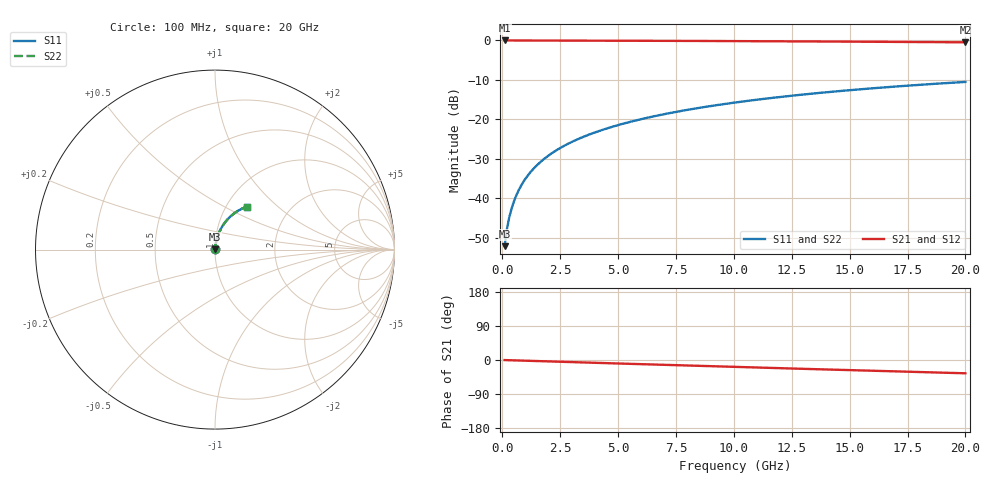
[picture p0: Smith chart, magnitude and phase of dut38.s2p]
! Touchstone file exported from HFSS 2026.1.0
!  File:  C:/ffzhzh/LocalFiles/Ansys_Project_Files/temp_train_TMRDL_38_1782880652_43084.aedt
!  Generated:  12:38:48 PM Jul  1, 2026
!  Design:  TMRDL
!  Project:  temp_train_TMRDL_38_1782880652_43084
! Variables:
!  h_bsmrdl = 2um
!  h_ox = 20um
!  h_rdl = 5um
!  h_sub = 80um
!  h_tmrdl = 5.38um
!  h_tsv = 80um
!  h_via = 3um
!  l_bsmrdl = 300um
!  l_sub = 919.73um
!  l_tmrdl = 519.73um
!  m_sub = 200um
!  pitch = 50.05um
!  r_tsv = 6um
!  s_tmrdl = 10um
!  w_bsmrdl = 18um
!  w_sub = 500um
!  w_tmrdl = 24.46um
!  x_tsv_center1 = 531.96um
!  x_tsv_center2 = 849.96um
!  x_tsv_center3 = 1394.15um
!  x_tsv_center4 = 1712.15um
!  x_tsv_center5 = 2256.34um
!  x_tsv_center6 = 2574.34um
# GHz S MA R 50.000000
! Terminal data exported
! Port[1] = TM_RDL1_1_T1
! Port[2] = TM_RDL1_1_T2
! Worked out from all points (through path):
!   200 points, 100 MHz to 20 GHz, reference 50 ohm
!   highest |S21| = -0.01 dB at 100 MHz (marker M1); lowest = -0.5 dB at 20 GHz (marker M2)
!   group delay of S21, straight-line fit = 4.87 ps
!   lowest |S11| = -52.1 dB at 100 MHz (marker M3), VSWR 1.00, Z = 50.2 + j0.192 ohm
!   |S11| at or under -10 dB: start of sweep to end of sweep
!   |S22| runs from -52.1 to -10.5 dB; largest |S21 - S12| = 3.3e-15
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0.1  0.002482 50.3  0.9984 -0.2  0.9984 -0.2  0.002482 50.3
! Gamma 0 0 0 0
! Port Impedance 50 0 50 0
0.2  0.004081 65.0  0.9983 -0.4  0.9983 -0.4  0.004081 65.0
0.3  0.005735 71.3  0.9982 -0.6  0.9982 -0.6  0.005735 71.3
0.4  0.007413 74.8  0.9981 -0.8  0.9981 -0.8  0.007413 74.8
0.5  0.009109 77.1  0.9981 -0.9  0.9981 -0.9  0.009109 77.1
0.7  0.01254 79.7  0.998 -1.3  0.998 -1.3  0.01254 79.7
0.8  0.01426 80.5  0.9979 -1.5  0.9979 -1.5  0.01426 80.5
1  0.01772 81.4  0.9978 -1.9  0.9978 -1.9  0.01772 81.4
1.2  0.02117 81.9  0.9976 -2.3  0.9976 -2.3  0.02117 81.9
1.4  0.02462 82.1  0.9974 -2.6  0.9974 -2.6  0.02462 82.1
1.7  0.02978 82.2  0.9971 -3.2  0.9971 -3.2  0.02978 82.2
2  0.03491 82.0  0.9968 -3.7  0.9968 -3.7  0.03491 82.0
2.7  0.04677 81.2  0.9959 -5.0  0.9959 -5.0  0.04677 81.2
3.5  0.06012 80.1  0.9946 -6.5  0.9946 -6.5  0.06012 80.1
4.2  0.07164 79.0  0.9934 -7.8  0.9934 -7.8  0.07164 79.0
5  0.08465 77.8  0.992 -9.2  0.992 -9.2  0.08465 77.8
6.8  0.1134 74.9  0.9882 -12.4  0.9882 -12.4  0.1134 74.9
8.3  0.1368 72.4  0.9847 -15.1  0.9847 -15.1  0.1368 72.4
10.1  0.1642 69.5  0.98 -18.3  0.98 -18.3  0.1642 69.5
13.4  0.2122 64.0  0.9699 -24.0  0.9699 -24.0  0.2122 64.0
16.7  0.2569 58.6  0.9584 -29.6  0.9584 -29.6  0.257 58.6
20  0.2981 53.3  0.946 -35.1  0.946 -35.1  0.2981 53.3
